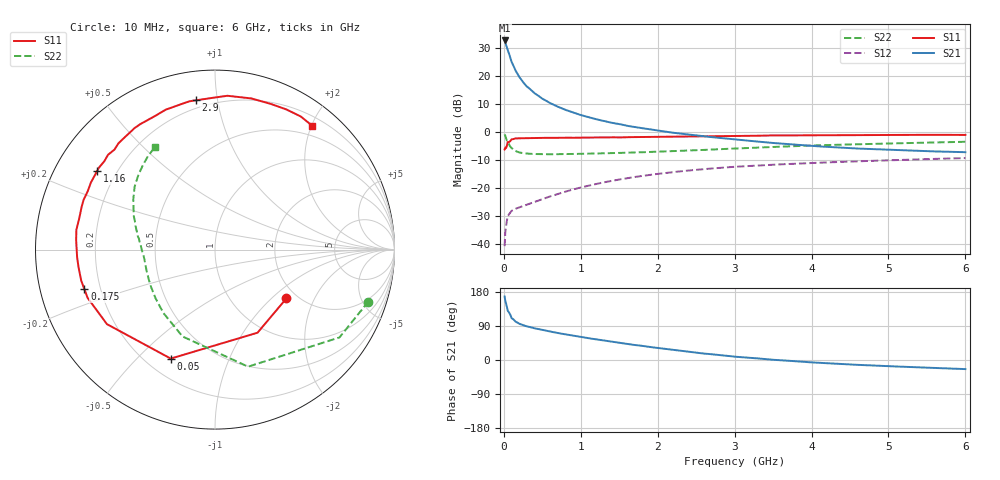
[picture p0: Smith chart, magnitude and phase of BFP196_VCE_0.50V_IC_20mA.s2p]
! Infineon Technologies  Discrete & RF Semiconductors
! BFP196
! VCE = 0.50V,  IC =  20mA
! Common Emitter S-Parameters:  Jan 2016
# GHz  S  MA  R  50
!  f  S11  S21  S12  S22
! GHz  MAG  ANG  MAG  ANG  MAG  ANG  MAG  ANG
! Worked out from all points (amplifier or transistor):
!   210 points, 10 MHz to 6 GHz, reference 50 ohm
!   highest |S21| = 32.6 dB at 10 MHz (marker M1)
!   |S21| within 3 dB of that: start of sweep to 45.28 MHz
!   unconditionally stable (mu >= 1): 574.1 MHz to end of sweep
!   at 185 MHz: K = 0.50, MSG = 23.8 dB, |S12| = -27.2 dB
!   at 1.52 GHz: K = 1.16, MAG = 7.4 dB, |S12| = -17.0 dB
!   at 6 GHz: K = 1.05, MAG = -0.3 dB, |S12| = -9.4 dB
!   S11 on the Smith chart (normalised r, x): 10 MHz: 1.76, -1.25; 50 MHz: 0.30, -0.63; 175 MHz: 0.14, -0.15; 1.16 GHz: 0.13, +0.30; 2.9 GHz: 0.15, +0.87; 6 GHz: 0.34, +2.01
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0.01  0.482 -34.3  42.88 167.5  0.009 78.9  0.9023 -18.7
0.02  0.5202 -62.9  39.65 154.8  0.0168 67.6  0.8488 -35.2
0.05  0.6554 -112.1  29.15 130.2  0.0309 46.9  0.6779 -74.2
0.1  0.7314 -145.4  17.86 110.9  0.0385 34.6  0.5167 -110.5
0.15  0.7591 -159.3  12.5 101.6  0.0418 32.9  0.4554 -129.2
0.175  0.7604 -163.1  11.02 99.0  0.0431 33.2  0.4395 -134.8
0.2  0.7651 -166.9  9.571 95.7  0.0444 33.4  0.428 -140.7
0.26  0.7669 -173.5  7.412 91.2  0.0476 35.7  0.4128 -149.6
0.3  0.7694 -176.9  6.427 88.6  0.0498 37.5  0.4074 -153.7
0.4  0.7755 176.1  4.869 83.5  0.0556 41.1  0.4001 -161.0
0.5  0.7801 171.9  3.904 79.4  0.0621 44.0  0.3976 -165.8
0.6  0.7761 167.2  3.263 75.1  0.0697 46.5  0.3962 -169.1
0.8  0.7828 159.3  2.468 67.7  0.0848 48.5  0.3991 -173.9
1.02  0.786 150.9  1.954 60.3  0.1024 49.2  0.4039 -177.9
1.16  0.7895 146.2  1.733 55.7  0.1133 48.9  0.4083 179.9
1.6  0.8001 132.2  1.279 42.5  0.1477 45.2  0.4225 174.2
2.02  0.8133 120.2  1.039 31.2  0.1778 40.1  0.4416 168.5
2.9  0.8387 97.4  0.751 11.1  0.231 28.5  0.4942 156.4
3.1  0.842 93.2  0.707 7.3  0.2404 25.7  0.5066 153.6
4.1  0.8656 75.0  0.547 -7.4  0.2796 13.3  0.5735 140.7
5.1  0.8768 61.8  0.47 -17.1  0.3118 2.5  0.6209 129.9
6  0.8773 51.9  0.431 -24.0  0.3385 -7.3  0.6617 120.4
